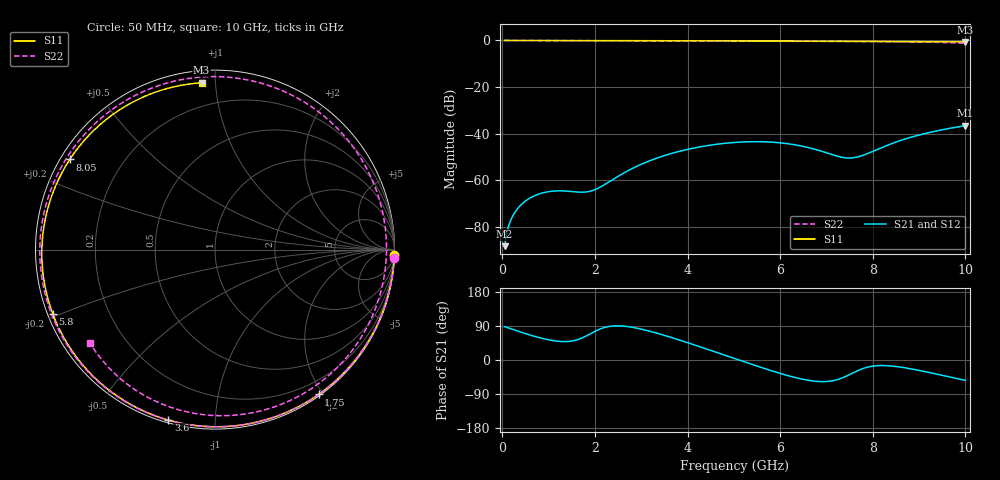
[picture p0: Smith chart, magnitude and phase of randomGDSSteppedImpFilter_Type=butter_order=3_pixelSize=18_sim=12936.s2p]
! freq	dB(S11)	phase(S11)	dB(S12)	phase(S12)
!  dB(S21)	phase(S21)	dB(S22)	phase(S22)
!S-par simulation data
#  GHz  S  DB  R 50
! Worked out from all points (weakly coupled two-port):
!   200 points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, 50 MHz to 10 GHz, reference 50 ohm
!   highest |S21| = -36.50 dB at 10 GHz (marker M1); lowest = -88.1 dB at 50 MHz (marker M2)
!   lowest |S11| = -0.6 dB at 10 GHz (marker M3), VSWR 28.49, Z = 3.25 + j46 ohm
!   |S11| at or under -10 dB: nowhere
!   |S22| runs from -1.2 to 0.0 dB; largest |S21 - S12| = 0
!   S11 on the Smith chart (normalised r, x): 50 MHz: 0, -71; 1.75 GHz: 0.02, -1.94; 3.6 GHz: 0.01, -0.76; 5.8 GHz: 0.01, -0.19; 8.05 GHz: 0.03, +0.29; 10 GHz: 0.06, +0.92
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0.05  -0.00 -1.6  -88.14 88.0  -88.14 88.0  -0.00 -2.6
0.1  -0.00 -3.2  -82.13 85.9  -82.13 85.9  -0.01 -5.3
0.4  -0.02 -12.8  -70.49 73.5  -70.49 73.5  -0.03 -20.9
0.7  -0.03 -22.3  -66.50 62.3  -66.50 62.3  -0.05 -36.4
1.25  -0.05 -39.4  -64.44 49.0  -64.44 49.0  -0.08 -64.0
1.75  -0.07 -54.4  -65.01 59.7  -65.01 59.7  -0.11 -88.2
2.05  -0.08 -63.2  -63.49 78.6  -63.49 78.6  -0.12 -102.3
2.5  -0.10 -76.0  -58.21 90.2  -58.21 90.2  -0.14 -122.9
3.4  -0.13 -100.2  -49.98 68.6  -49.98 68.6  -0.19 -163.1
3.6  -0.13 -105.3  -48.72 61.3  -48.72 61.3  -0.20 -172.1
4.3  -0.16 -122.8  -45.47 33.6  -45.47 33.6  -0.24 155.8
5.05  -0.20 -140.7  -43.66 2.5  -43.66 2.5  -0.29 119.5
5.8  -0.24 -158.2  -43.55 -27.9  -43.55 -27.9  -0.33 80.6
6.25  -0.28 -168.7  -44.48 -44.0  -44.48 -44.0  -0.35 56.4
6.7  -0.31 -179.2  -46.36 -55.3  -46.36 -55.3  -0.37 31.9
7.45  -0.37 163.0  -50.36 -41.3  -50.36 -41.3  -0.41 -8.2
8.05  -0.42 148.2  -47.08 -15.4  -47.08 -15.4  -0.46 -38.9
8.35  -0.45 140.5  -44.62 -15.3  -44.62 -15.3  -0.51 -53.8
8.8  -0.49 128.6  -41.60 -22.8  -41.60 -22.8  -0.60 -76.1
9.2  -0.53 117.7  -39.54 -32.5  -39.54 -32.5  -0.72 -96.3
9.6  -0.57 106.3  -37.88 -43.1  -37.88 -43.1  -0.91 -118.1
10  -0.61 94.6  -36.50 -53.8  -36.50 -53.8  -1.21 -143.2
